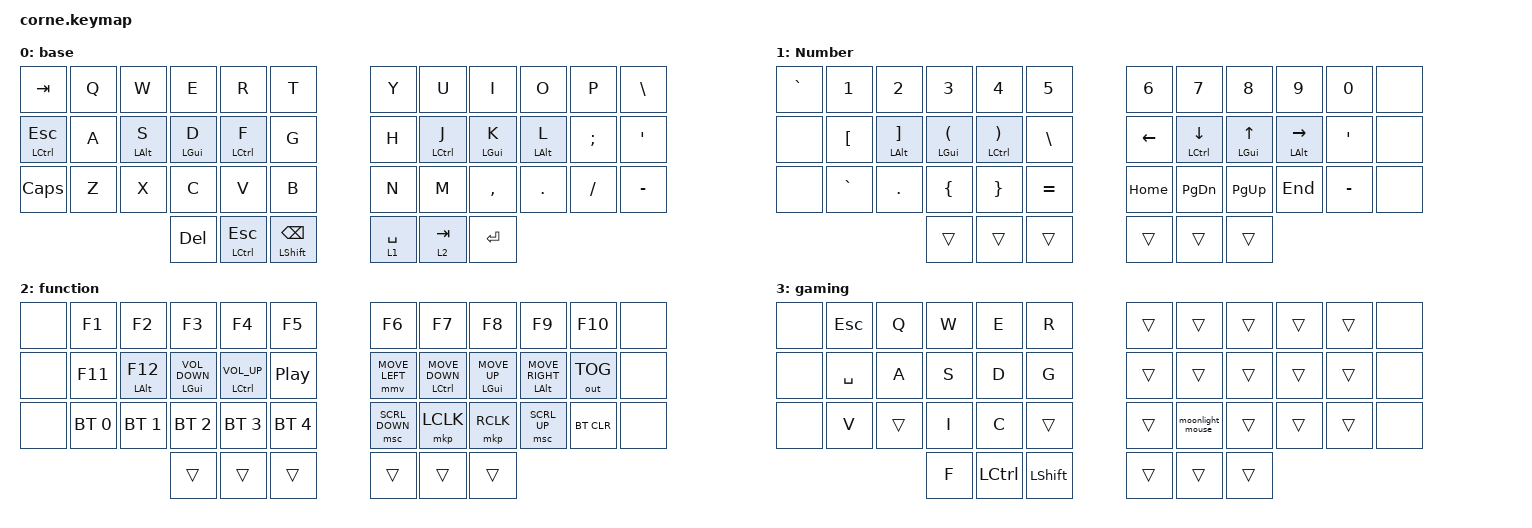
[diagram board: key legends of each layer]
/*
 * Copyright (c) 2020 The ZMK Contributors
 *
 * SPDX-License-Identifier: MIT
 */

#define ZMK_POINTING_DEFAULT_MOVE_VAL 1500  // default: 600
#define ZMK_POINTING_DEFAULT_SCRL_VAL 20    // default: 10

#include <behaviors.dtsi>
#include <dt-bindings/zmk/bt.h>
#include <dt-bindings/zmk/keys.h>
#include <dt-bindings/zmk/outputs.h>
#include <dt-bindings/zmk/pointing.h>

/ {
    behaviors {
        HMRF: HMRF {
            compatible = "zmk,behavior-hold-tap";
            label = "HMRF";
            bindings = <&kp>, <&kp>;

            #binding-cells = <2>;
            tapping-term-ms = <250>;
            flavor = "tap-preferred";
            quick-tap-ms = <200>;
        };

        HMRS: HMRS {
            compatible = "zmk,behavior-hold-tap";
            label = "HMRS";
            bindings = <&kp>, <&kp>;

            #binding-cells = <2>;
            tapping-term-ms = <250>;
            flavor = "tap-preferred";
            quick-tap-ms = <200>;
        };

        LHKPT: LHKPT {
            compatible = "zmk,behavior-hold-tap";
            label = "LHKPT";
            bindings = <&mo>, <&kp>;

            #binding-cells = <2>;
            tapping-term-ms = <250>;
            flavor = "balanced";
            quick-tap-ms = <200>;
        };

        hrmf_mmv: hrmf_mmv {
            compatible = "zmk,behavior-hold-tap";
            label = "HRMF_MMV";
            bindings = <&kp>, <&mmv>;

            #binding-cells = <2>;
            tapping-term-ms = <250>;
            quick-tap-ms = <200>;
            flavor = "tap-preferred";
        };
    };

    combos {
        compatible = "zmk,combos";

        enter_combo {
            bindings = <&kp ENTER>;
            key-positions = <21 20>;
        };

        function_layer {
            bindings = <&tog 3>;
            key-positions = <36 41 38 39>;
        };

        soft_off {
            bindings = <&soft_off>;
            key-positions = <2 26>;
            layers = <2>;
        };

        tab_combo {
            bindings = <&kp TAB>;
            key-positions = <15 16>;
        };

        Escape_combo {
            bindings = <&kp ESC>;
            key-positions = <15 14>;
        };

        quote {
            bindings = <&kp SQT>;
            key-positions = <22 21>;
            layers = <0>;
        };
    };

    macros {
        moonlight_mouse: moonlight_mouse {
            compatible = "zmk,behavior-macro";
            #binding-cells = <0>;
            bindings = <&kp LC(LA(LS(M)))>;
            label = "MOONLIGHT_MOUSE";
        };
    };

    keymap {
        compatible = "zmk,keymap";

        base {
            // -----------------------------------------------------------------------------------------
            // |  TAB |  Q  |  W  |  E  |  R  |  T  |   |  Y  |  U   |  I  |  O  |  P  | BSPC |
            // | CTRL |  A  |  S  |  D  |  F  |  G  |   |  H  |  J   |  K  |  L  |  ;  |  '   |
            // | SHFT |  Z  |  X  |  C  |  V  |  B  |   |  N  |  M   |  ,  |  .  |  /  | ESC  |
            //                    | GUI | LWR | SPC |   | ENT | RSE  | ALT |

            bindings = <
&kp TAB                    &kp Q  &kp W             &kp E             &kp R                      &kp T                         &kp Y           &kp U                 &kp I             &kp O             &kp P     &kp BSLH
&HMRF LEFT_CONTROL ESCAPE  &kp A  &HMRF LEFT_ALT S  &HMRF LEFT_GUI D  &HMRF LEFT_CONTROL F       &kp G                         &kp H           &HMRF LEFT_CONTROL J  &HMRF LEFT_GUI K  &HMRF LEFT_ALT L  &kp SEMI  &kp SQT
&kp CAPSLOCK               &kp Z  &kp X             &kp C             &kp V                      &kp B                         &kp N           &kp M                 &kp COMMA         &kp DOT           &kp FSLH  &kp MINUS
                                                    &kp DELETE        &HMRS LEFT_CONTROL ESCAPE  &HMRS LEFT_SHIFT BACKSPACE    &LHKPT 1 SPACE  &LHKPT 2 TAB          &kp ENTER
            >;
        };

        Number {
            // -----------------------------------------------------------------------------------------
            // |  TAB |  1  |  2  |  3  |  4  |  5  |   |  6  |  7  |  8  |  9  |  0  | BSPC |
            // | BTCLR| BT1 | BT2 | BT3 | BT4 | BT5 |   | LFT | DWN |  UP | RGT |     |      |
            // | SHFT |     |     |     |     |     |   |     |     |     |     |     |      |
            //                    | GUI |     | SPC |   | ENT |     | ALT |

            bindings = <
&kp GRAVE  &kp NUMBER_1      &kp NUMBER_2                  &kp NUMBER_3                     &kp NUMBER_4                          &kp N5           &kp NUMBER_6  &kp N7                   &kp N8             &kp N9                &kp N0     &none
&none      &kp LEFT_BRACKET  &HMRF LEFT_ALT RIGHT_BRACKET  &HMRF LEFT_GUI LEFT_PARENTHESIS  &HMRF LEFT_CONTROL RIGHT_PARENTHESIS  &kp BACKSLASH    &kp LEFT      &HMRF LEFT_CONTROL DOWN  &HMRF LEFT_GUI UP  &HMRF LEFT_ALT RIGHT  &kp SQT    &none
&none      &kp GRAVE         &kp DOT                       &kp LEFT_BRACE                   &kp RIGHT_BRACE                       &kp EQUAL        &kp HOME      &kp PAGE_DOWN            &kp PAGE_UP        &kp END               &kp MINUS  &none
                                                           &trans                           &trans                                &trans           &trans        &trans                   &trans
            >;
        };

        function {
            // -----------------------------------------------------------------------------------------
            // |  TAB |  !  |  @  |  #  |  $  |  %  |   |  ^  |  &  |  *  |  (  |  )  | BSPC |
            // | CTRL |     |     |     |     |     |   |  -  |  =  |  [  |  ]  |  \  |  `   |
            // | SHFT |     |     |     |     |     |   |  _  |  +  |  {  |  }  | "|" |  ~   |
            //                    | GUI |     | SPC |   | ENT |     | ALT |

            bindings = <
&none  &kp F1        &kp F2              &kp F3                        &kp F4                          &kp F5              &kp F6          &kp F7                            &kp F8                      &kp F9                         &kp F10       &none
&none  &kp F11       &HMRF LEFT_ALT F12  &HMRF LEFT_GUI C_VOLUME_DOWN  &HMRF LEFT_CONTROL C_VOLUME_UP  &kp C_PLAY_PAUSE    &mmv MOVE_LEFT  &hrmf_mmv LEFT_CONTROL MOVE_DOWN  &hrmf_mmv LEFT_GUI MOVE_UP  &hrmf_mmv LEFT_ALT MOVE_RIGHT  &out OUT_TOG  &none
&none  &bt BT_SEL 0  &bt BT_SEL 1        &bt BT_SEL 2                  &bt BT_SEL 3                    &bt BT_SEL 4        &msc SCRL_DOWN  &mkp LCLK                         &mkp RCLK                   &msc SCRL_UP                   &bt BT_CLR    &none
                                         &trans                        &trans                          &trans              &trans          &trans                            &trans
            >;
        };

        gaming {
            bindings = <
&none  &kp ESCAPE  &kp Q   &kp W  &kp E             &kp R             &trans  &trans            &trans  &trans  &trans  &none
&none  &kp SPACE   &kp A   &kp S  &kp D             &kp G             &trans  &trans            &trans  &trans  &trans  &none
&none  &kp V       &trans  &kp I  &kp C             &trans            &trans  &moonlight_mouse  &trans  &trans  &trans  &none
                           &kp F  &kp LEFT_CONTROL  &kp LEFT_SHIFT    &trans  &trans            &trans
            >;
        };
    };
};
